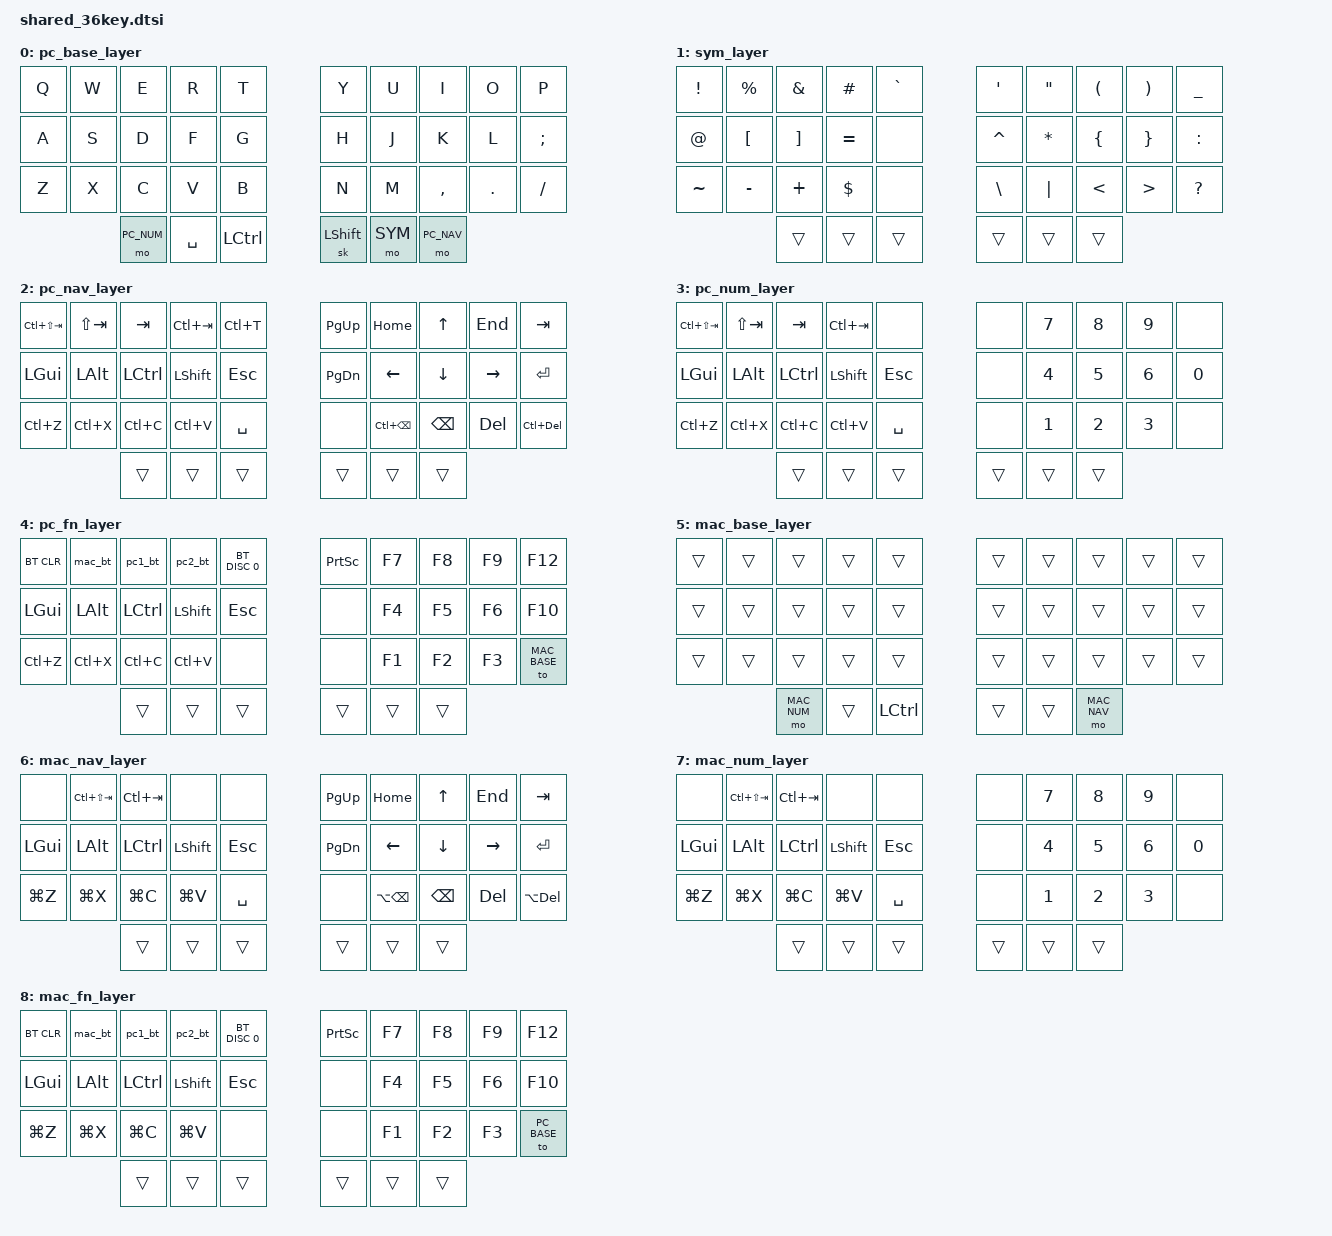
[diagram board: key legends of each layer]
/*
 * Shared logical 3x5+3 keymap for the Decatyl/Corne and Temper.
 *
 * Bluetooth profile 0 selects macOS mode. Profiles 1 and 2 select PC mode.
 * The bottom-right key on either Fn layer switches OS mode without changing
 * the Bluetooth profile (useful for USB).
 */

#include <behaviors.dtsi>
#include <dt-bindings/zmk/keys.h>
#include <dt-bindings/zmk/bt.h>

#define PC_BASE 0
#define SYM 1
#define PC_NAV 2
#define PC_NUM 3
#define PC_FN 4
#define MAC_BASE 5
#define MAC_NAV 6
#define MAC_NUM 7
#define MAC_FN 8

&sk {
    quick-release;
    release-after-ms = <300>;
};

/ {
    macros {
        mac_bt: mac_bt {
            compatible = "zmk,behavior-macro";
            #binding-cells = <0>;
            bindings = <&bt BT_SEL 0>, <&to MAC_BASE>;
        };

        pc1_bt: pc1_bt {
            compatible = "zmk,behavior-macro";
            #binding-cells = <0>;
            bindings = <&bt BT_SEL 1>, <&to PC_BASE>;
        };

        pc2_bt: pc2_bt {
            compatible = "zmk,behavior-macro";
            #binding-cells = <0>;
            bindings = <&bt BT_SEL 2>, <&to PC_BASE>;
        };
    };

    combos {
        compatible = "zmk,combos";

        esc {
            bindings = <&kp ESCAPE>;
            key-positions = <16 17>;
            layers = <PC_BASE MAC_BASE>;
            timeout-ms = <80>;
        };
    };

    keymap {
        compatible = "zmk,keymap";

        pc_base_layer {
            bindings = <
&kp Q  &kp W  &kp E  &kp R      &kp T               &kp Y           &kp U  &kp I      &kp O    &kp P
&kp A  &kp S  &kp D  &kp F      &kp G               &kp H           &kp J  &kp K      &kp L    &kp SEMICOLON
&kp Z  &kp X  &kp C  &kp V      &kp B               &kp N           &kp M  &kp COMMA  &kp DOT  &kp SLASH
              &mo PC_NUM  &kp SPACE  &kp LEFT_CONTROL    &sk LEFT_SHIFT  &mo SYM  &mo PC_NAV
            >;
        };

        sym_layer {
            bindings = <
&kp EXCLAMATION  &kp PERCENT       &kp AMPERSAND      &kp HASH    &kp GRAVE  &kp SINGLE_QUOTE  &kp DOUBLE_QUOTES  &kp LEFT_PARENTHESIS  &kp RIGHT_PARENTHESIS  &kp UNDERSCORE
&kp AT_SIGN      &kp LEFT_BRACKET  &kp RIGHT_BRACKET  &kp EQUAL   &none      &kp CARET         &kp ASTERISK       &kp LEFT_BRACE        &kp RIGHT_BRACE        &kp COLON
&kp TILDE        &kp MINUS         &kp PLUS           &kp DOLLAR  &none      &kp BACKSLASH     &kp PIPE           &kp LESS_THAN         &kp GREATER_THAN       &kp QUESTION
                                      &trans             &trans      &trans  &trans            &trans             &trans
            >;
        };

        pc_nav_layer {
            bindings = <
&kp LC(LS(TAB))  &kp LS(TAB)  &kp TAB  &kp LC(TAB)  &kp LC(T)  &kp PAGE_UP    &kp HOME           &kp UP_ARROW    &kp END          &kp TAB
&kp LEFT_GUI      &kp LEFT_ALT &kp LEFT_CONTROL  &kp LEFT_SHIFT  &kp ESCAPE     &kp PAGE_DOWN  &kp LEFT_ARROW     &kp DOWN_ARROW  &kp RIGHT_ARROW  &kp ENTER
&kp LC(Z)     &kp LC(X)     &kp LC(C)         &kp LC(V)       &kp SPACE      &none          &kp LC(BACKSPACE)  &kp BACKSPACE   &kp DELETE       &kp LC(DELETE)
                              &trans            &trans          &trans         &trans         &trans             &trans
            >;
        };

        pc_num_layer {
            bindings = <
&kp LC(LS(TAB))  &kp LS(TAB)  &kp TAB  &kp LC(TAB)  &none   &none   &kp N7  &kp N8  &kp N9  &none
&kp LEFT_GUI  &kp LEFT_ALT  &kp LEFT_CONTROL  &kp LEFT_SHIFT  &kp ESCAPE     &none   &kp N4  &kp N5  &kp N6  &kp N0
&kp LC(Z)     &kp LC(X)     &kp LC(C)         &kp LC(V)       &kp SPACE      &none   &kp N1  &kp N2  &kp N3  &none
                              &trans            &trans          &trans         &trans  &trans  &trans
            >;
        };

        pc_fn_layer {
            bindings = <
&bt BT_CLR    &mac_bt       &pc1_bt           &pc2_bt        &bt BT_DISC 0  &kp PRINTSCREEN  &kp F7  &kp F8  &kp F9  &kp F12
&kp LEFT_GUI  &kp LEFT_ALT  &kp LEFT_CONTROL  &kp LEFT_SHIFT &kp ESCAPE    &none            &kp F4  &kp F5  &kp F6  &kp F10
&kp LC(Z)     &kp LC(X)     &kp LC(C)         &kp LC(V)      &none         &none            &kp F1  &kp F2  &kp F3  &to MAC_BASE
                              &trans            &trans         &trans        &trans           &trans  &trans
            >;
        };

        /* Transparent keys fall through to the PC base; layer selectors differ. */
        mac_base_layer {
            bindings = <
&trans  &trans  &trans  &trans       &trans              &trans          &trans  &trans     &trans  &trans
&trans  &trans  &trans  &trans       &trans              &trans          &trans  &trans     &trans  &trans
&trans  &trans  &trans  &trans       &trans              &trans          &trans  &trans     &trans  &trans
                &mo MAC_NUM  &trans  &kp LEFT_CONTROL    &trans          &trans  &mo MAC_NAV
            >;
        };

        mac_nav_layer {
            bindings = <
&none  &kp LC(LS(TAB))  &kp LC(TAB)  &none  &none  &kp PAGE_UP    &kp HOME           &kp UP_ARROW    &kp END          &kp TAB
&kp LEFT_GUI      &kp LEFT_ALT &kp LEFT_CONTROL  &kp LEFT_SHIFT  &kp ESCAPE     &kp PAGE_DOWN  &kp LEFT_ARROW     &kp DOWN_ARROW  &kp RIGHT_ARROW  &kp ENTER
&kp LG(Z)     &kp LG(X)     &kp LG(C)         &kp LG(V)       &kp SPACE      &none          &kp LA(BACKSPACE)  &kp BACKSPACE   &kp DELETE       &kp LA(DELETE)
                              &trans            &trans          &trans         &trans         &trans             &trans
            >;
        };

        mac_num_layer {
            bindings = <
&none  &kp LC(LS(TAB))  &kp LC(TAB)  &none  &none   &none   &kp N7  &kp N8  &kp N9  &none
&kp LEFT_GUI     &kp LEFT_ALT  &kp LEFT_CONTROL  &kp LEFT_SHIFT  &kp ESCAPE       &none   &kp N4  &kp N5  &kp N6  &kp N0
&kp LG(Z)        &kp LG(X)     &kp LG(C)         &kp LG(V)       &kp SPACE        &none   &kp N1  &kp N2  &kp N3  &none
                                  &trans            &trans          &trans           &trans  &trans  &trans
            >;
        };

        mac_fn_layer {
            bindings = <
&bt BT_CLR    &mac_bt       &pc1_bt           &pc2_bt        &bt BT_DISC 0  &kp PRINTSCREEN  &kp F7  &kp F8  &kp F9  &kp F12
&kp LEFT_GUI  &kp LEFT_ALT  &kp LEFT_CONTROL  &kp LEFT_SHIFT &kp ESCAPE    &none            &kp F4  &kp F5  &kp F6  &kp F10
&kp LG(Z)     &kp LG(X)     &kp LG(C)         &kp LG(V)      &none         &none            &kp F1  &kp F2  &kp F3  &to PC_BASE
                              &trans            &trans         &trans        &trans           &trans  &trans
            >;
        };
    };

    conditional_layers {
        compatible = "zmk,conditional-layers";

        pc_fn_layer_cond {
            if-layers = <PC_NUM PC_NAV>;
            then-layer = <PC_FN>;
        };

        mac_fn_layer_cond {
            if-layers = <MAC_NUM MAC_NAV>;
            then-layer = <MAC_FN>;
        };
    };
};
